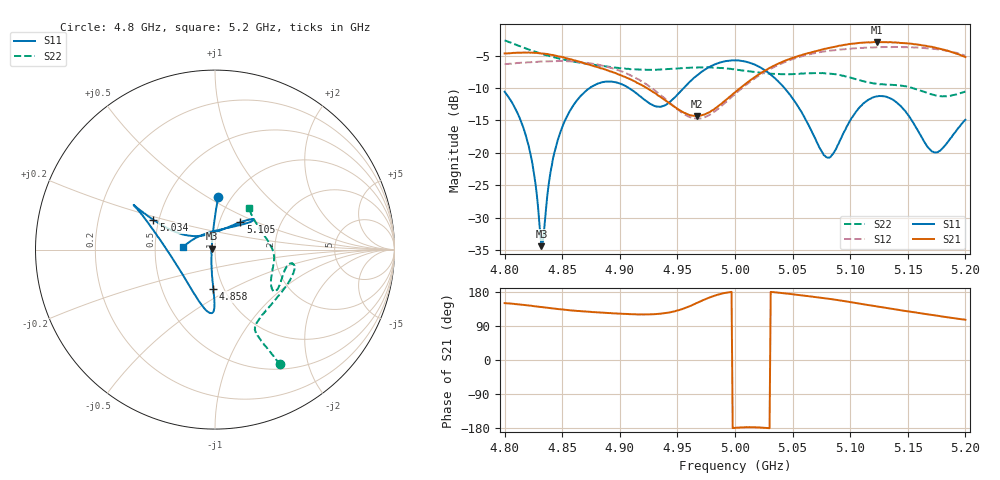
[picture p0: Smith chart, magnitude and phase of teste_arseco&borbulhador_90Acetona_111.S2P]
! Network Analyzer HP8722D
! Hewlett-Packard
! Data name: Linha & Wilkinson
! Saver's name: Rodrigo Anjos
! Comments: Teste da utilização de aquisição
! continua pelo VNA HP8722D
! Time and date: 17/4/2025 11:58
!  Frequency  S11  S21  S12  S22
# HZ  S  MA R 50
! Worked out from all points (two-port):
!   401 points, 4.8 GHz to 5.2 GHz, reference 50 ohm
!   highest |S21| = -2.91 dB at 5.123 GHz (marker M1); lowest = -14.3 dB at 4.967 GHz (marker M2)
!   |S21| within 3 dB of the highest: start of sweep to 4.864 GHz; 5.042 GHz to end of sweep
!   lowest |S11| = -34.4 dB at 4.832 GHz (marker M3), VSWR 1.04, Z = 48.2 + j0.554 ohm
!   |S11| at or under -10 dB: start of sweep to 4.874 GHz; 4.908 GHz to 4.955 GHz (47.74 MHz wide, 0.968 % of centre); 5.043 GHz to end of sweep
!   |S22| runs from -11.3 to -2.7 dB; largest |S21 - S12| = 1.3
!   S11 on the Smith chart (normalised r, x): 4.8 GHz: 0.87, +0.56; 4.858 GHz: 0.89, -0.41; 5.034 GHz: 0.47, +0.18; 5.105 GHz: 1.26, +0.40; 5.2 GHz: 0.70, +0.02
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4.8e9  0.2957 86.6  0.5842 150.1  0.4832 -111.6  0.7359 -60.4
4.811e9  0.2042 89.1  0.5922 147.1  0.4934 -111.4  0.6751 -61.2
4.82e9  0.1205 94.0  0.5931 144.2  0.4994 -110.8  0.6317 -62.0
4.826e9  0.06451 103.1  0.5902 141.8  0.502 -110.5  0.6042 -62.4
4.832e9  0.019 162.4  0.5828 139.7  0.5059 -110.1  0.5811 -62.8
4.834e9  0.02369 -146.6  0.582 138.9  0.5063 -109.8  0.5732 -63.0
4.839e9  0.06345 -107.9  0.5722 137.1  0.5079 -109.5  0.5582 -63.2
4.844e9  0.1062 -100.1  0.5619 135.4  0.5092 -109.3  0.5429 -63.5
4.858e9  0.2199 -92.3  0.5252 130.7  0.5068 -109.2  0.5102 -63.8
4.867e9  0.2798 -90.7  0.4982 128.6  0.4986 -109.4  0.4927 -63.1
4.898e9  0.3471 -97.0  0.4052 122.7  0.4345 -112.9  0.4524 -55.3
4.934e9  0.2267 -148.4  0.2744 121.8  0.2859 -116.1  0.4385 -34.7
4.967e9  0.3958 158.8  0.192 150.6  0.1833 -85.6  0.4545 -17.4
5e9  0.5173 151.3  0.2923 -179.2  0.2841 -49.5  0.4391 -10.2
5.034e9  0.3815 154.1  0.4697 178.8  0.4589 -44.1  0.4061 -16.0
5.067e9  0.1437 148.4  0.599 167.4  0.5831 -47.5  0.4112 -30.1
5.082e9  0.0918 100.0  0.6452 161.3  0.6138 -50.3  0.409 -34.5
5.105e9  0.207 47.1  0.6991 150.4  0.6412 -55.3  0.3691 -32.2
5.123e9  0.2722 38.6  0.7152 141.4  0.6527 -60.6  0.3414 -20.7
5.134e9  0.2649 37.3  0.7141 135.9  0.6538 -64.5  0.3357 -12.4
5.173e9  0.1006 102.4  0.6507 118.0  0.6336 -78.1  0.2791 20.6
5.2e9  0.1798 175.8  0.5471 106.2  0.5638 -87.2  0.2972 50.9
